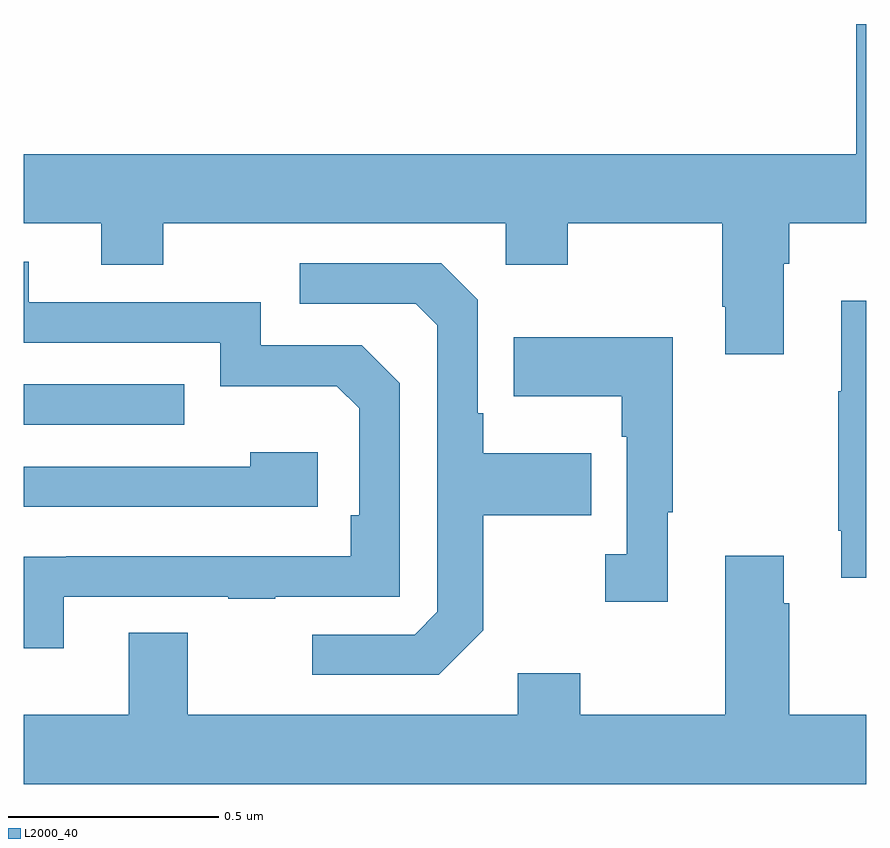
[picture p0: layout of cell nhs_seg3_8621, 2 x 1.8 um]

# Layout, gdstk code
import gdstk
lib = gdstk.Library(unit=1e-6, precision=1e-09)
def R(c, l, rs):  # rectangles x0, y0, x1, y1
    for r in rs: c.add(gdstk.rectangle(r[:2], r[2:], *l))
def P(c, l, *ps):  # polygons
    for p in ps: c.add(gdstk.Polygon(p, *l))
L2000_40 = (2000, 40)

nhs_seg3_8621 = lib.new_cell('nhs_seg3_8621')
R(nhs_seg3_8621, L2000_40, [(218,704.433,218.381,704.529)])
P(nhs_seg3_8621, L2000_40, [(219.805,704.816),(219.818,704.816),(219.818,704.912),(220,704.912),(220,705.385),(219.977,705.385),(219.977,705.076),(218,705.076),(218,704.912),(218.183,704.912),(218.183,704.813),(218.331,704.813),(218.331,704.912),(219.144,704.912),(219.144,704.813),(219.291,704.813),(219.291,704.912),(219.658,704.912),(219.658,704.713),(219.665,704.713),(219.665,704.601),(219.805,704.601)],
  [(218.095,704.025),(218.485,704.025),(218.485,704.02),(218.597,704.02),(218.597,704.025),(218.892,704.025),(218.892,704.532),(218.802,704.622),(218.562,704.622),(218.562,704.724),(218.011,704.724),(218.011,704.82),(218,704.82),(218,704.628),(218.466,704.628),(218.466,704.525),(218.743,704.525),(218.796,704.472),(218.796,704.218),(218.776,704.218),(218.776,704.121),(218.101,704.121),(218.101,704.12),(218,704.12),(218,703.902),(218.095,703.902)],
  [(219.091,703.945),(219.091,704.218),(219.347,704.218),(219.347,704.365),(219.091,704.365),(219.091,704.461),(219.078,704.461),(219.078,704.73),(218.991,704.817),(218.655,704.817),(218.655,704.721),(218.931,704.721),(218.982,704.67),(218.982,703.989),(218.928,703.935),(218.685,703.935),(218.685,703.839),(218.985,703.839)],
  [(220,704.728),(219.941,704.728),(219.941,704.513),(219.934,704.513),(219.934,704.182),(219.941,704.182),(219.941,704.07),(220,704.07)],
  [(219.529,704.225),(219.541,704.225),(219.541,704.641),(219.163,704.641),(219.163,704.501),(219.42,704.501),(219.42,704.405),(219.432,704.405),(219.432,704.126),(219.381,704.126),(219.381,704.013),(219.529,704.013)],
  [(218.698,704.368),(218.537,704.368),(218.537,704.334),(218,704.334),(218,704.238),(218.698,704.238)],
  [(220,703.744),(219.818,703.744),(219.818,704.009),(219.805,704.009),(219.805,704.122),(219.665,704.122),(219.665,703.744),(219.321,703.744),(219.321,703.843),(219.173,703.843),(219.173,703.744),(218.389,703.744),(218.389,703.939),(218.249,703.939),(218.249,703.744),(218,703.744),(218,703.58),(220,703.58)])

lib.write_gds('nhs_seg3_8621.gds')
